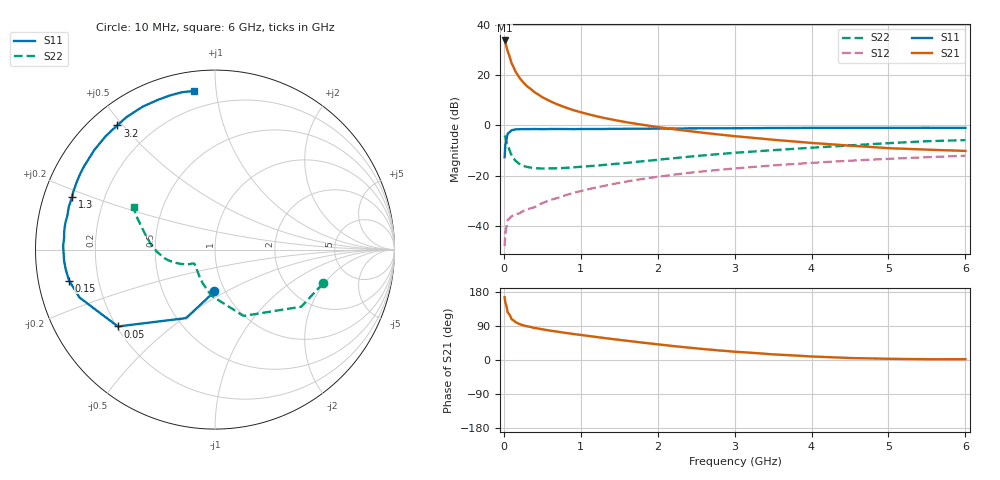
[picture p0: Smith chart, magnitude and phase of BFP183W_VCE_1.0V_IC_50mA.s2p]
! Infineon Technologies  Discrete & RF Semiconductors
! BFP183W
! VCE =  1.0 V,  IC =  50 mA
! Common Emitter S-Parameters:  Jan 2017
# GHz  S  MA  R  50
!  f  S11  S21  S12  S22
! GHz  MAG  ANG  MAG  ANG  MAG  ANG  MAG  ANG
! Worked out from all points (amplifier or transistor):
!   77 points, 10 MHz to 6 GHz, reference 50 ohm
!   highest |S21| = 33.7 dB at 10 MHz (marker M1)
!   |S21| within 3 dB of that: start of sweep to 38.4 MHz
!   unconditionally stable (mu >= 1): start of sweep to 15.56 MHz; 238.3 MHz to end of sweep
!   at 130 MHz: K = 0.67, MSG = 29.2 dB, |S12| = -35.5 dB
!   at 2.2 GHz: K = 1.46, MAG = 5.0 dB, |S12| = -19.6 dB
!   at 6 GHz: K = 1.37, MAG = -2.7 dB, |S12| = -12.0 dB
!   S11 on the Smith chart (normalised r, x): 10 MHz: 0.89, -0.44; 50 MHz: 0.21, -0.34; 150 MHz: 0.09, -0.10; 1.3 GHz: 0.08, +0.18; 3.2 GHz: 0.08, +0.48; 6 GHz: 0.10, +0.87
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0.01  0.2334 -90.7  48.55 165.5  0.004 68.7  0.6305 -17.4
0.02  0.414 -112.8  44.24 151.5  0.0072 66.0  0.5765 -33.5
0.05  0.6896 -141.6  29.59 125.6  0.0132 42.2  0.402 -66.8
0.1  0.8007 -160.5  17.18 107.8  0.0156 37.2  0.2569 -94.7
0.15  0.8312 -168.0  11.85 100.1  0.0176 35.9  0.1987 -110.4
0.2  0.839 -172.5  8.973 95.1  0.0178 39.4  0.1728 -120.3
0.25  0.843 -175.7  7.211 91.6  0.0199 41.0  0.1575 -127.6
0.3  0.8434 -177.9  6.019 89.0  0.0215 44.6  0.1498 -132.5
0.4  0.8463 178.5  4.537 84.5  0.0238 51.0  0.1414 -139.2
0.5  0.8432 175.6  3.628 80.9  0.0286 54.8  0.1394 -142.9
0.6  0.8461 173.3  3.032 77.6  0.033 58.3  0.1401 -145.2
0.7  0.8468 171.2  2.598 74.7  0.0363 60.2  0.1406 -146.8
0.9  0.8439 167.1  2.019 68.8  0.0454 62.5  0.1469 -148.1
1.1  0.8488 163.4  1.662 63.5  0.054 64.2  0.1549 -149.1
1.3  0.849 159.7  1.408 58.2  0.0627 64.2  0.1638 -150.3
1.6  0.8571 154.4  1.151 50.7  0.077 63.8  0.1802 -152.9
2.1  0.8654 145.4  0.885 39.2  0.0999 61.4  0.2151 -158.8
3.1  0.8792 129.6  0.592 20.6  0.1437 53.8  0.2925 -172.0
3.2  0.8805 128.2  0.573 19.3  0.1479 53.0  0.2996 -173.5
4.1  0.8919 115.7  0.437 8.5  0.1838 45.6  0.3681 173.1
5.1  0.8947 105.3  0.348 3.0  0.2199 37.1  0.4516 159.7
6  0.8918 97.5  0.311 2.1  0.2499 29.7  0.5103 152.4
